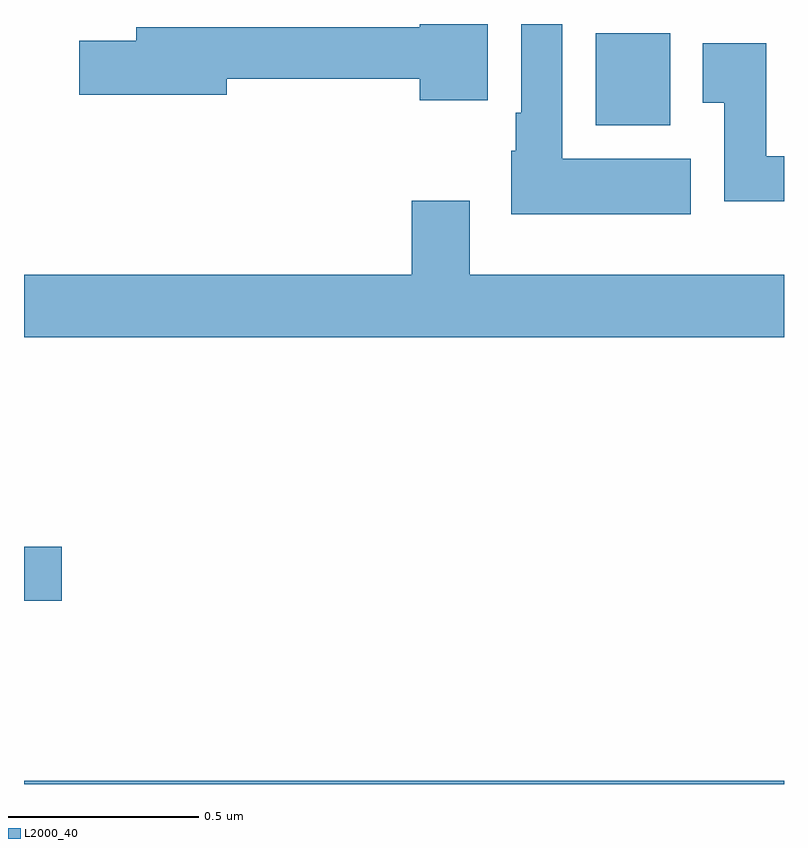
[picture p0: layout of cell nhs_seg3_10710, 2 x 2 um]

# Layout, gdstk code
import gdstk
lib = gdstk.Library(unit=1e-6, precision=1e-09)
def R(c, l, rs):  # rectangles x0, y0, x1, y1
    for r in rs: c.add(gdstk.rectangle(r[:2], r[2:], *l))
def P(c, l, *ps):  # polygons
    for p in ps: c.add(gdstk.Polygon(p, *l))
L2000_40 = (2000, 40)

nhs_seg3_10710 = lib.new_cell('nhs_seg3_10710')
R(nhs_seg3_10710, L2000_40, [(244,706.4,246,706.408), (244,706.882,244.099,707.024), (245.504,708.134,245.701,708.376)])
P(nhs_seg3_10710, L2000_40, [(245.755,708.046),(245.416,708.046),(245.416,708.4),(245.309,708.4),(245.309,708.166),(245.294,708.166),(245.294,708.066),(245.282,708.066),(245.282,707.9),(245.755,707.9)],
  [(245.221,708.4),(245.042,708.4),(245.042,708.392),(244.295,708.392),(244.295,708.356),(244.146,708.356),(244.146,708.214),(244.534,708.214),(244.534,708.256),(245.042,708.256),(245.042,708.2),(245.221,708.2)],
  [(246,708.052),(245.953,708.052),(245.953,708.349),(245.786,708.349),(245.786,708.193),(245.843,708.193),(245.843,707.934),(246,707.934)],
  [(246,707.74),(245.173,707.74),(245.173,707.935),(245.021,707.935),(245.021,707.74),(244,707.74),(244,707.576),(246,707.576)])

lib.write_gds('nhs_seg3_10710.gds')
